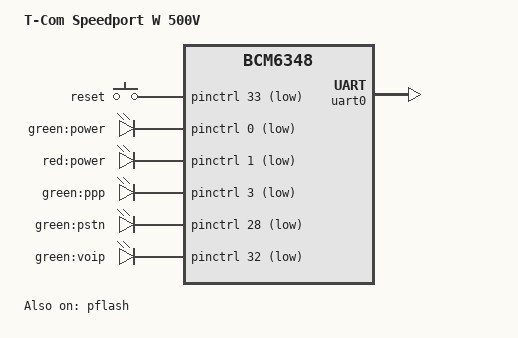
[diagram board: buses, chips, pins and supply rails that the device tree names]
#include "bcm6348.dtsi"

#include <dt-bindings/input/input.h>

/ {
	model = "T-Com Speedport W 500V";
	compatible = "t-com,speedport-w-500v", "brcm,bcm6348";

	aliases {
		led-boot = &led_power_green;
		led-failsafe = &led_power_green;
		led-running = &led_power_green;
		led-upgrade = &led_power_green;
	};

	chosen {
		bootargs = "rootfstype=squashfs,jffs2 noinitrd console=ttyS0,115200";
		stdout-path = "serial0:115200n8";
	};

	keys {
		compatible = "gpio-keys-polled";
		#address-cells = <1>;
		#size-cells = <0>;
		poll-interval = <20>;

		reset {
			label = "reset";
			gpios = <&pinctrl 33 1>;
			linux,code = <KEY_RESTART>;
			debounce-interval = <60>;
		};
	};

	leds {
		compatible = "gpio-leds";

		led_power_green: power_green {
			label = "green:power";
			gpios = <&pinctrl 0 1>;
			default-state = "on";
		};
		power_red {
			label = "red:power";
			gpios = <&pinctrl 1 1>;
		};
		ppp_green {
			label = "green:ppp";
			gpios = <&pinctrl 3 1>;
		};
		pstn_green {
			label = "green:pstn";
			gpios = <&pinctrl 28 1>;
		};
		voip_green {
			label = "green:voip";
			gpios = <&pinctrl 32 1>;
		};
	};
};

&pflash {
	status = "okay";

	partitions {
		compatible = "fixed-partitions";
		#address-cells = <1>;
		#size-cells = <1>;

		cfe@0 {
			label = "CFE";
			reg = <0x000000 0x010000>;
			read-only;
		};

		linux@10000 {
			label = "linux";
			reg = <0x010000 0x3e0000>;
			compatible = "brcm,bcm963xx-imagetag";
		};

		nvram@3f0000 {
			label = "nvram";
			reg = <0x3f0000 0x010000>;
		};
	};
};

&pinctrl {
	pinctrl-names = "default";
	pinctrl-0 = <&pinctrl_pci>;
};

&uart0 {
	status = "okay";
};
